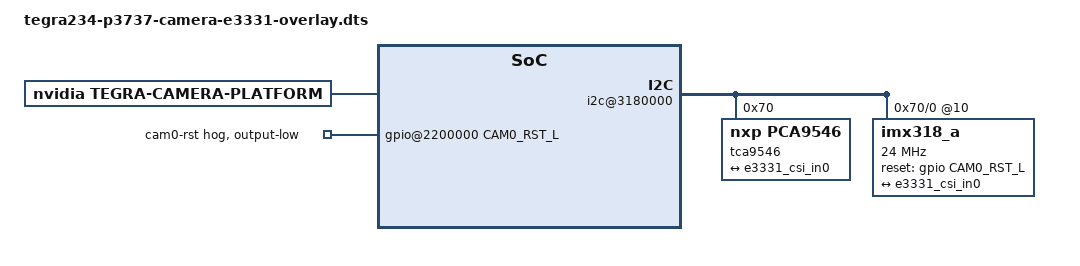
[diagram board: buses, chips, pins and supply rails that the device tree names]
// SPDX-License-Identifier: GPL-2.0-only
// SPDX-FileCopyrightText: Copyright (c) 2017-2024, NVIDIA CORPORATION & AFFILIATES. All rights reserved.

/dts-v1/;
/plugin/;

#include <dt-bindings/clock/tegra234-clock.h>
#include <dt-bindings/gpio/tegra234-gpio.h>
#include <dt-bindings/tegra234-p3737-0000+p3701-0000.h>

/* camera control gpio definitions */
#define CAM0_RST_L	TEGRA234_MAIN_GPIO(H, 3)

/* TODO: Re-enable cam1 and cam2*/
/ {
	overlay-name = "Jetson Camera E3331 module";
	jetson-header-name = "Jetson AGX CSI Connector";
	compatible = JETSON_COMPATIBLE;

	fragment@0 {
		target-path = "/";

		board_config {
			ids = "3331-*";
			sw-modules = "kernel";
		};

		__overlay__ {
			tegra-capture-vi {
				num-channels = <1>;
				ports {
					status = "okay";
					port@0 {
						status = "okay";
						endpoint {
							status = "okay";
							remote-endpoint = <&e3331_csi_out0>;
						};
					};
				};
			};
			tegra-camera-platform {
				compatible = "nvidia, tegra-camera-platform";

				modules {
					status = "okay";
					module0 {
						status = "okay";
						badge = "e3331_rear_22N02A";
						position = "rear";
						orientation = "1";
						drivernode0 {
							status = "okay";
							pcl_id = "v4l2_sensor";
							sysfs-device-tree = "/sys/firmware/devicetree/base/bus@0/i2c@3180000/tca9546@70/i2c@0/imx318_a@10";
						};
					};
				};
			};
			bus@0 {
				gpio@2200000 {
					camera-control-output-low {
						gpio-hog;
						output-low;
						gpios = <CAM0_RST_L 0>;
						label = "cam0-rst";
					};
				};
				host1x@13e00000 {
					nvcsi@15a00000 {
						num-channels = <1>;
						channel@0 {
							status = "okay";
							ports {
								status = "okay";
								port@0 {
									status = "okay";
									endpoint@0 {
										status = "okay";
										remote-endpoint = <&e3331_imx318_out0>;
									};
								};
								port@1 {
									status = "okay";
									endpoint@1 {
										status = "okay";
										remote-endpoint = <&e3331_vi_in0>;
									};
								};
							};
						};
					};
				};
				i2c@3180000 {
					tca9546@70 {
						compatible = "nxp,pca9546";
						reg = <0x70>;
						#address-cells = <1>;
						#size-cells = <0>;
						skip_mux_detect;
						status = "okay";
						i2c@0 {
							reg = <0>;
							i2c-mux,deselect-on-exit;
							#address-cells = <1>;
							#size-cells = <0>;
							status = "okay";
							imx318_a@10 {
								status = "okay";
								clocks = <&bpmp TEGRA234_CLK_EXTPERIPH1>,
									 <&bpmp TEGRA234_CLK_PLLP_OUT0>;
								clock-names = "extperiph1", "pllp_grtba";
								mclk = "extperiph1";
								clock-frequency = <24000000>;
								reset-gpios = <&gpio CAM0_RST_L GPIO_ACTIVE_HIGH>;
								ports {
									#address-cells = <1>;
									#size-cells = <0>;
									status = "okay";
									port@0 {
										status = "okay";
										reg = <0>;
										endpoint {
											status = "okay";
											remote-endpoint = <&e3331_csi_in0>;
										};
									};
								};
							};
						};
					};
				};
			};
		};
	};
};
